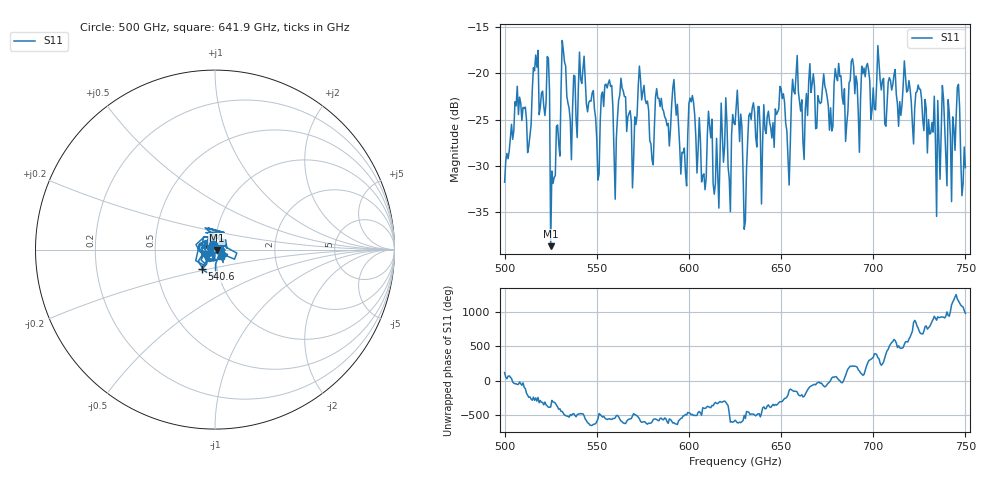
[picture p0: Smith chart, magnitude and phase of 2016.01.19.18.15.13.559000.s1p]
!Created with skrf (http://scikit-rf.org).
# GHz S RI R 50.0
!freq ReS11 ImS11
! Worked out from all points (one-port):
!   401 points, 500 GHz to 750 GHz, reference 50 ohm
!   lowest |S11| = -38.7 dB at 525 GHz (marker M1), VSWR 1.02, Z = 51.1 - j0.498 ohm
!   |S11| at or under -10 dB: start of sweep to end of sweep
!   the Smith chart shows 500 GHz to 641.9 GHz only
!   S11 on the Smith chart (normalised r, x): 500 GHz: 0.98, +0.05; 540.6 GHz: 0.85, -0.19; 641.9 GHz: 1.06, -0.07
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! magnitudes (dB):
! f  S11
! 500 GHz  -31.8
! 506.9 GHz  -21.4
! 513.1 GHz  -27.9
! 516.9 GHz  -18.0
! 523.1 GHz  -18.2
! 525 GHz  -38.7
! 526.2 GHz  -31.9
! 531.2 GHz  -16.4
! 540.6 GHz  -17.7
! 550.6 GHz  -31.5
! 562.5 GHz  -22.3
! 593.8 GHz  -23.3
! 601.9 GHz  -22.4
! 608.1 GHz  -30.9
! 611.2 GHz  -25.7
! 615 GHz  -27.0
! 625 GHz  -25.5
! 630.6 GHz  -36.0
! 633.8 GHz  -25.0
! 641.9 GHz  -26.5
! 650.6 GHz  -22.7
! 653.8 GHz  -29.0
! 656.2 GHz  -20.6
! 687.5 GHz  -20.8
! 718.8 GHz  -21.9
! 735 GHz  -22.9
! 745.6 GHz  -21.5
! 750 GHz  -30.2
